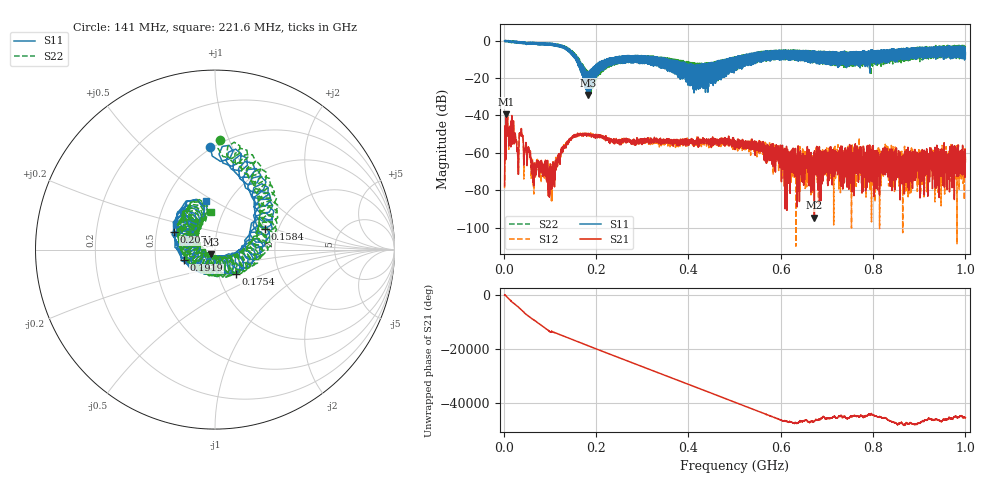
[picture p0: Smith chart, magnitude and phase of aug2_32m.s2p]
!Keysight Technologies N9923A: A.12.45
!Date: Saturday, 02 August 2025 19:21:47
!Timezone: (UTC+08:00) Kuala Lumpur, Singapore
!Model: N9923A
!Serial: MY61181427
!GPS Latitude:
!GPS Longitude:
!GPS TimeStamp: 0001-01-01 00:00:00Z
!GPS Seconds Since Last Read: 0
!CHECKSUM:0836614919
!Correction: S11(ON U)S21(ON U)S12(ON U)S22(ON U)
!S2P File: Measurements:S11,S21,S12,S22:
# Hz S DB R 50
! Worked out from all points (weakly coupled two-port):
!   4001 points, 2 MHz to 1 GHz, reference 50 ohm
!   highest |S21| = -39.38 dB at 5.742 MHz (marker M1); lowest = -94.7 dB at 672.9 MHz (marker M2)
!   lowest |S11| = -29.0 dB at 182.9 MHz (marker M3), VSWR 1.07, Z = 47.7 - j2.55 ohm
!   |S11| at or under -10 dB: 162.2 MHz to 223.5 MHz (61.25 MHz wide, 31.8 % of centre); 223.8 MHz to 225.1 MHz (1.33 MHz wide, 0.593 % of centre); 354.6 MHz to 483 MHz (128.4 MHz wide, 30.7 % of centre) (the widest 3 of 295)
!   |S22| runs from -29.6 to 0.1 dB; largest |S21 - S12| = 0.0028
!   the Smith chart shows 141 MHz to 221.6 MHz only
!   S11 on the Smith chart (normalised r, x): 141 MHz: 0.48, +0.83; 158.4 MHz: 1.70, +0.44; 175.4 MHz: 1.21, -0.34; 191.9 MHz: 0.70, -0.09; 207.1 MHz: 0.62, +0.13; 221.6 MHz: 0.78, +0.46
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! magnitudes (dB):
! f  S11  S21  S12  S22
! 2 MHz  -0.1  -77.7  -79.0  -0.1
! 5.742 MHz  -0.5  -39.4  -39.2  -0.6
! 9.984 MHz  0.0  -47.9  -47.9  0.1
! 27.95 MHz  -0.8  -54.0  -53.5  -1.1
! 37.93 MHz  -1.3  -47.9  -47.2  -1.3
! 64.13 MHz  -1.4  -71.1  -70.5  -1.4
! 101.1 MHz  -2.0  -67.4  -71.0  -1.9
! 141 MHz  -4.8  -54.2  -54.1  -4.3
! 158.4 MHz  -10.4  -50.3  -50.7  -10.6
! 168.4 MHz  -15.1  -50.5  -50.0  -15.8
! 175.4 MHz  -15.1  -49.8  -49.5  -15.6
! 182.9 MHz  -29.0  -50.6  -50.1  -24.4
! 191.9 MHz  -14.9  -50.5  -50.5  -16.1
! 207.1 MHz  -12.1  -51.2  -51.1  -12.1
! 221.6 MHz  -11.2  -52.0  -51.9  -13.4
! 334.8 MHz  -11.7  -53.3  -53.9  -9.2
! 417.2 MHz  -26.3  -54.7  -55.2  -15.0
! 501 MHz  -12.0  -55.4  -56.5  -14.0
! 667.4 MHz  -6.3  -70.2  -60.9  -10.7
! 672.9 MHz  -5.7  -94.7  -62.7  -8.7
! 833.8 MHz  -6.2  -60.0  -77.7  -8.3
! 1 GHz  -6.4  -63.6  -65.4  -2.8
